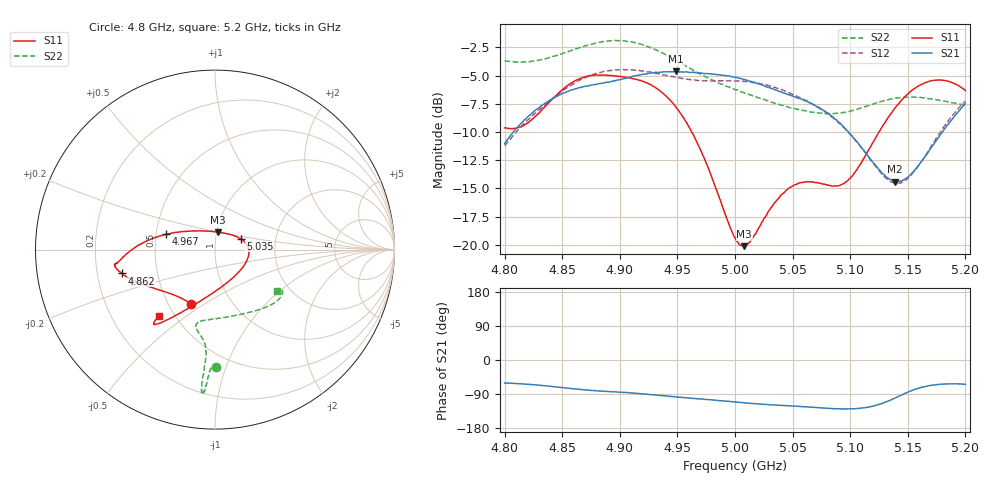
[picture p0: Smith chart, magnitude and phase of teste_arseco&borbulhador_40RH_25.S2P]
! Network Analyzer HP8722D
! Hewlett-Packard
! Data name: Linha & Wilkinson
! Saver's name: Rodrigo Anjos
! Comments: Teste da utilização de aquisição
! continua pelo VNA HP8722D
! Time and date: 15/4/2025 16:33
!  Frequency  S11  S21  S12  S22
# HZ  S  MA R 50
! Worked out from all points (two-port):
!   401 points, 4.8 GHz to 5.2 GHz, reference 50 ohm
!   highest |S21| = -4.63 dB at 4.949 GHz (marker M1); lowest = -14.4 dB at 5.139 GHz (marker M2)
!   |S21| within 3 dB of the highest: 4.833 GHz to 5.069 GHz (236.5 MHz wide, 4.78 % of centre); 5.198625 GHz to end of sweep
!   lowest |S11| = -20.1 dB at 5.008 GHz (marker M3), VSWR 1.22, Z = 50.7 + j9.95 ohm
!   |S11| at or under -10 dB: 4.962 GHz to 5.125 GHz (162.5 MHz wide, 3.22 % of centre)
!   |S22| runs from -8.4 to -1.9 dB; largest |S21 - S12| = 0.88
!   S11 on the Smith chart (normalised r, x): 4.8 GHz: 0.65, -0.44; 4.862 GHz: 0.31, -0.11; 4.967 GHz: 0.57, +0.10; 5.035 GHz: 1.32, +0.16; 5.2 GHz: 0.41, -0.40
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4.8e9  0.3299 -113.7  0.2811 -60.8  0.2748 -175.0  0.6546 -89.5
4.819e9  0.3448 -133.5  0.3648 -63.6  0.3521 -173.3  0.6482 -91.1
4.862e9  0.5362 -165.6  0.4928 -76.6  0.5264 -176.3  0.7402 -93.5
4.867e9  0.5493 -167.5  0.5005 -78.0  0.5424 -177.4  0.7536 -93.7
4.902e9  0.5557 -172.1  0.5432 -85.2  0.5987 175.3  0.802 -95.1
4.934e9  0.4861 -178.0  0.5807 -93.3  0.5728 171.9  0.7203 -95.5
4.949e9  0.4058 174.9  0.5868 -97.3  0.5522 172.3  0.6565 -95.3
4.967e9  0.285 162.6  0.5794 -101.9  0.5356 174.2  0.5813 -94.9
5e9  0.1074 107.6  0.552 -110.8  0.5334 176.6  0.4876 -99.2
5.008e9  0.0986 80.6  0.5412 -113.1  0.5302 176.2  0.4715 -101.1
5.015e9  0.1063 58.8  0.528 -114.7  0.5232 176.1  0.4589 -102.6
5.035e9  0.1545 23.1  0.4865 -118.8  0.4983 175.2  0.4234 -103.9
5.05e9  0.1822 7.3  0.4567 -121.5  0.4647 174.5  0.4035 -100.4
5.067e9  0.19 -11.0  0.4207 -124.7  0.4224 174.1  0.3867 -91.9
5.086e9  0.1824 -41.5  0.364 -128.4  0.3615 173.7  0.3822 -77.8
5.097e9  0.1907 -64.6  0.3216 -129.1  0.3207 174.5  0.3882 -68.6
5.134e9  0.3729 -116.0  0.1956 -107.1  0.1921 -159.9  0.4413 -43.4
5.139e9  0.4049 -119.0  0.1906 -100.2  0.1878 -152.0  0.4463 -41.1
5.152e9  0.4759 -124.4  0.2039 -82.3  0.2011 -131.6  0.4518 -36.3
5.17e9  0.5328 -128.5  0.2674 -67.0  0.2719 -112.9  0.4443 -32.0
5.184e9  0.5326 -129.8  0.3378 -63.1  0.3486 -107.2  0.4314 -31.0
5.2e9  0.4829 -130.3  0.422 -64.0  0.4341 -106.0  0.4155 -33.3
